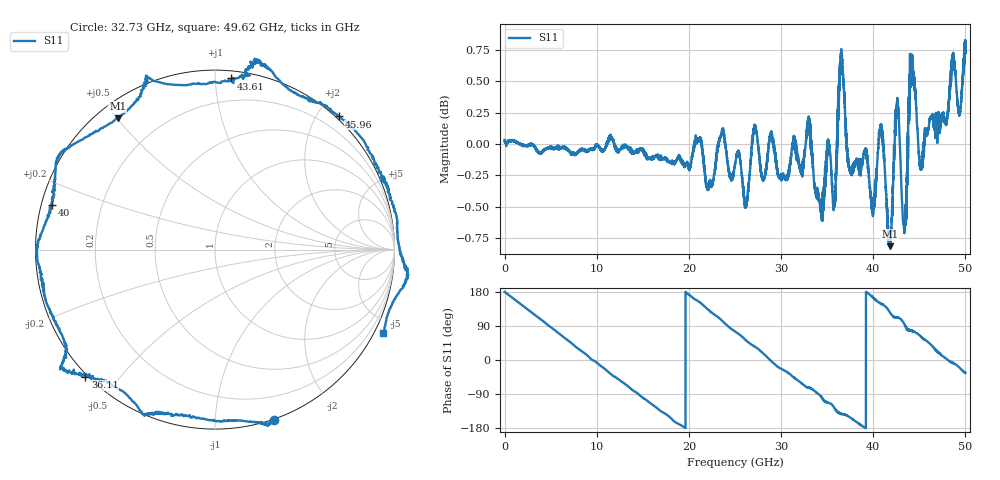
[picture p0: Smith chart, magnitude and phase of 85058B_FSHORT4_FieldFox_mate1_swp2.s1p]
!Created with skrf (http://scikit-rf.org).
# Hz S RI R 50.0
!freq ReS11 ImS11
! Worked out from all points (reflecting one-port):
!   10000 points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, 5.3 MHz to 50 GHz, reference 50 ohm
!   lowest |S11| = -0.8 dB at 41.79 GHz (marker M1), VSWR 21.34, Z = 2.94 + j25.1 ohm
!   phase of S11 starts at 180 deg and turns -934 deg over the sweep
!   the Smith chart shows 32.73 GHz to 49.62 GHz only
!   S11 on the Smith chart (normalised r, x): 32.73 GHz: -0.01, -1.40; 36.11 GHz: -0.01, -0.41; 40 GHz: 0.03, +0.13; 43.61 GHz: 0.05, +1.10; 45.96 GHz: -0.04, +2.30; 49.62 GHz: -0.43, -4.21
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5299970  -1.004 0.00177
1.565291e9  -0.8745 0.4869
3.34028e9  -0.4681 0.8797
6.255262e9  0.4495 0.8899
9.390244e9  0.9949 0.0415
1.250522e10  0.5918 -0.7995
1.532521e10  -0.2511 -0.9573
1.875519e10  -0.963 -0.2175
2.128517e10  -0.8722 0.4969
2.352016e10  -0.2711 0.9718
2.500515e10  0.248 0.9495
2.726014e10  0.8463 0.56
2.869513e10  1.001 0.0482
3.125511e10  0.7239 -0.6894
3.27301e10  0.3269 -0.9504
3.518009e10  -0.3977 -0.9165
3.610508e10  -0.7232 -0.7089
3.750507e10  -0.8584 -0.4596
4.000006e10  -0.9084 0.249
4.100505e10  -0.845 0.5533
4.178505e10  -0.5421 0.7316
4.292004e10  -0.3283 0.9369
4.360504e10  0.0877 0.9535
4.375504e10  0.1851 0.9937
4.596002e10  0.6903 0.7418
4.752501e10  1.012 0.1843
4.9615e10  0.937 -0.4665
5e10  0.9072 -0.6217
